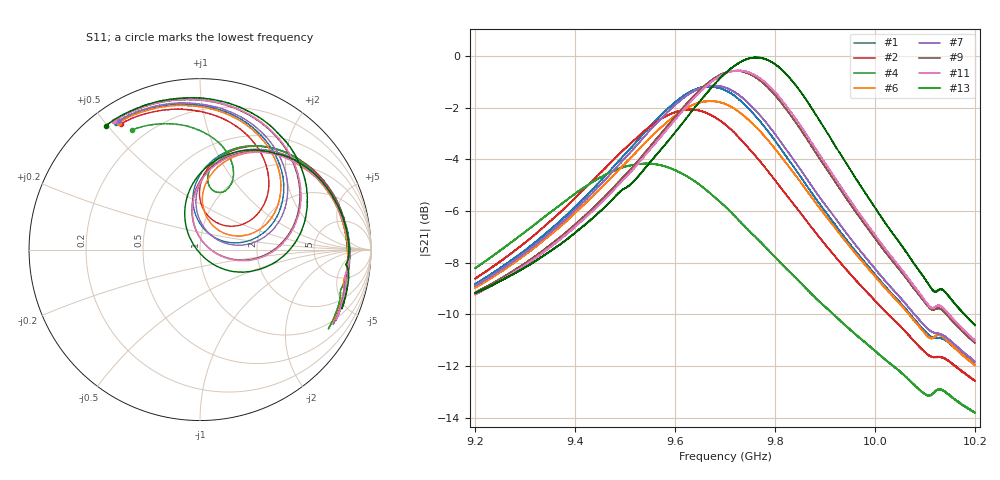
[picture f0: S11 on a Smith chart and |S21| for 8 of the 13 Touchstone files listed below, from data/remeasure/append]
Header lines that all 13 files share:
!Agilent Technologies,N5242A,MY51221714,A.09.90.19
!Agilent N5242A: A.09.90.19
!Correction: S11(Full 2 Port(1,2))
!S21(Full 2 Port(1,2))
!S12(Full 2 Port(1,2))
!S22(Full 2 Port(1,2))
!S2P File: Measurements: S11, S21, S12, S22:
# Hz S  dB  R 50
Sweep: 9.2 GHz to 10.2 GHz
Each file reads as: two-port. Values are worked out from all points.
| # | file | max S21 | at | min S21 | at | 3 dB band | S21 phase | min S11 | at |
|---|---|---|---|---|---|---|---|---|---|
| 1 | d8_1.s2p | -1.17 dB | 9.671 GHz | -12.0 dB | 10.2 GHz | 9.482 GHz-9.833 GHz | -125 deg at 9.7 GHz | -19.6 dB | 9.671 GHz |
| 2 | d8_2.s2p | -2.06 dB | 9.629 GHz | -12.6 dB | 10.2 GHz | 9.423 GHz-9.81 GHz | -135 deg at 9.7 GHz | -14.7 dB | 9.633 GHz |
| 3 | d9_1.s2p | -1.97 dB | 9.625 GHz | -12.5 dB | 10.2 GHz | 9.426 GHz-9.808 GHz | -136 deg at 9.7 GHz | -14.5 dB | 9.634 GHz |
| 4 | d9_2.s2p | -4.15 dB | 9.543 GHz | -13.8 dB | 10.2 GHz | 9.277 GHz-9.768 GHz | -149 deg at 9.7 GHz | -9.1 dB | 9.554 GHz |
| 5 | d10_1.s2p | -0.75 dB | 9.706 GHz | -11.4 dB | 10.2 GHz | 9.527 GHz-9.861 GHz | -113 deg at 9.7 GHz | -24.1 dB | 9.707 GHz |
| 6 | d10_2.s2p | -1.73 dB | 9.668 GHz | -12.0 dB | 10.2 GHz | 9.472 GHz-9.845 GHz | -124 deg at 9.7 GHz | -16.2 dB | 9.676 GHz |
| 7 | d11_1.s2p | -1.13 dB | 9.681 GHz | -11.8 dB | 10.2 GHz | 9.492 GHz-9.842 GHz | -122 deg at 9.7 GHz | -19.5 dB | 9.681 GHz |
| 8 | d11_2.s2p | -2.20 dB | 9.635 GHz | -12.5 dB | 10.2 GHz | 9.425 GHz-9.82 GHz | -133 deg at 9.7 GHz | -13.7 dB | 9.642 GHz |
| 9 | d12_1.s2p | -0.56 dB | 9.722 GHz | -11.1 dB | 10.2 GHz | 9.548 GHz-9.876 GHz | -107 deg at 9.7 GHz | -27.5 dB | 9.723 GHz |
| 10 | d12_2.s2p | -0.55 dB | 9.722 GHz | -11.1 dB | 10.2 GHz | 9.547 GHz-9.876 GHz | -107 deg at 9.7 GHz | -28.1 dB | 9.723 GHz |
| 11 | d13_1.s2p | -0.55 dB | 9.722 GHz | -11.0 dB | 10.2 GHz | 9.553 GHz-9.88 GHz | -105 deg at 9.7 GHz | -27.5 dB | 9.728 GHz |
| 12 | d13_2.s2p | -0.57 dB | 9.722 GHz | -11.1 dB | 10.2 GHz | 9.549 GHz-9.876 GHz | -107 deg at 9.7 GHz | -27.1 dB | 9.724 GHz |
| 13 | fp_3.95.s2p | -0.04 dB | 9.766 GHz | -10.4 dB | 10.2 GHz | 9.596 GHz-9.907 GHz | -92 deg at 9.7 GHz | -37.4 dB | 9.762 GHz |
